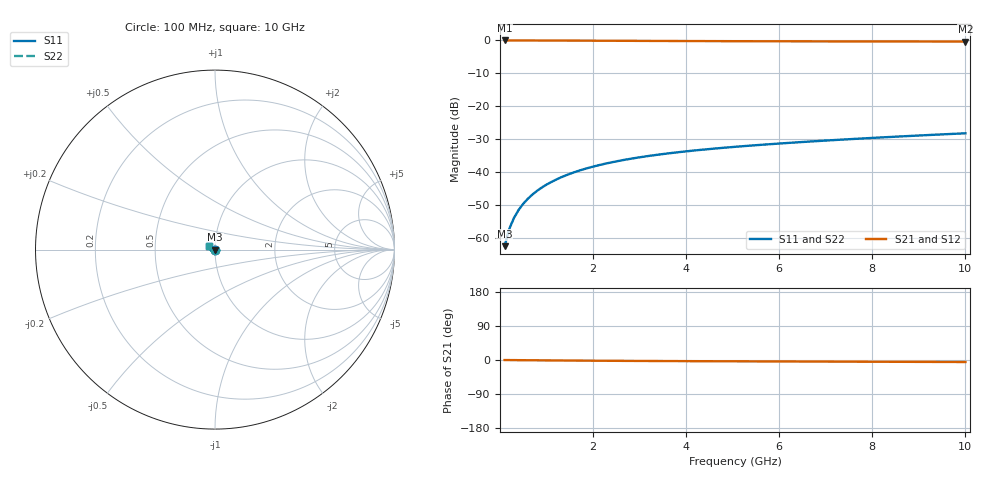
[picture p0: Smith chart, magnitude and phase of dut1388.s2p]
! Touchstone file exported from HFSS 2024.1.0
!  File:  C:/UserFiles/LocalFiles/RDL_TSV_Batchsim/temp_TSV1_1388_1780381001.aedt
!  Generated:  02:26:12 PM Jun  2, 2026
!  Design:  TSV1
!  Project:  temp_TSV1_1388_1780381001
!  Setup:  Setup1
!  Solution:  Sweep
! Variables:
!  dtsv = 6.19um
!  hbump = 3um
!  htsv = 79.15um
!  lrdl = 252.1521522um
!  p = 40
!  p1 = 49.73um
!  t = 500um
!  trdl = 3um
!  wrdl = 24.89489489um
# GHz S MA R 50.000000
! Terminal data exported
! Port[1] = TSV22_T1
! Port[2] = TSV22_T2
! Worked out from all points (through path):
!   100 points, 100 MHz to 10 GHz, reference 50 ohm
!   highest |S21| = 0.00 dB at 100 MHz (marker M1); lowest = -0.3 dB at 10 GHz (marker M2)
!   lowest |S11| = -62.6 dB at 100 MHz (marker M3), VSWR 1.00, Z = 50 - j0.0654 ohm
!   |S11| at or under -10 dB: start of sweep to end of sweep
!   |S22| runs from -62.6 to -28.3 dB; largest |S21 - S12| = 4.5e-15
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0.1  0.0007389 -62.3  0.9996 -0.1  0.9996 -0.1  0.0007389 -62.3
! Gamma 0 0 0 0
! Port Impedance 50 0 50 0
0.2  0.00135 -78.3  0.9995 -0.2  0.9995 -0.2  0.00135 -78.3
0.3  0.001985 -85.7  0.9994 -0.3  0.9994 -0.3  0.001985 -85.7
0.4  0.002625 -90.5  0.9992 -0.4  0.9992 -0.4  0.002625 -90.5
0.5  0.003263 -94.2  0.999 -0.5  0.999 -0.5  0.003263 -94.2
0.6  0.003899 -97.5  0.9987 -0.6  0.9987 -0.6  0.003899 -97.5
0.7  0.00453 -100.4  0.9984 -0.7  0.9984 -0.7  0.00453 -100.4
0.8  0.005156 -103.1  0.998 -0.8  0.998 -0.8  0.005156 -103.1
0.9  0.005774 -105.6  0.9976 -0.9  0.9976 -0.9  0.005774 -105.6
1.1  0.006989 -110.4  0.9968 -1.1  0.9968 -1.1  0.006989 -110.4
1.4  0.008747 -117.1  0.9952 -1.4  0.9952 -1.4  0.008747 -117.1
1.6  0.009872 -121.3  0.994 -1.5  0.994 -1.5  0.009872 -121.3
1.8  0.01096 -125.4  0.9928 -1.7  0.9928 -1.7  0.01096 -125.4
2.1  0.01251 -131.2  0.9909 -1.9  0.9909 -1.9  0.01251 -131.2
2.5  0.01443 -138.4  0.9882 -2.2  0.9882 -2.2  0.01443 -138.4
2.9  0.01621 -145.1  0.9856 -2.4  0.9856 -2.4  0.01621 -145.1
3.4  0.01826 -152.8  0.9825 -2.7  0.9825 -2.7  0.01826 -152.8
4.2  0.0212 -163.8  0.9782 -3.1  0.9782 -3.1  0.0212 -163.8
5.1  0.02419 -174.4  0.9741 -3.5  0.9741 -3.5  0.02419 -174.4
6.7  0.02905 170.3  0.9687 -4.1  0.9687 -4.1  0.02905 170.3
8.4  0.03398 157.8  0.9649 -4.7  0.9649 -4.7  0.03398 157.8
10  0.03861 148.4  0.9623 -5.3  0.9623 -5.3  0.03861 148.4
